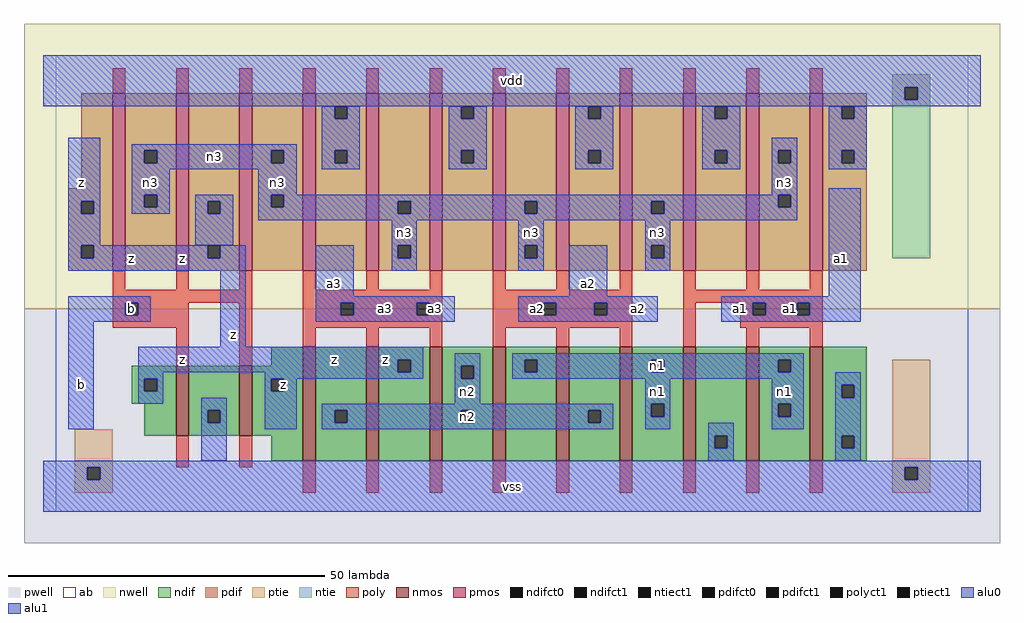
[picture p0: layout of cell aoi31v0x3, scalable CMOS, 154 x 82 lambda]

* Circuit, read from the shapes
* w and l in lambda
.subckt aoi31v0x3 a1 a2 a3 b n1 n2 n3 vdd vss z
M1 vss b z vss nfet w=11 l=2 m=2
M2 n2 a3 z vss nfet w=18 l=2 m=3
M3 n1 a2 n2 vss nfet w=18 l=2 m=3
M4 vss a1 n1 vss nfet w=18 l=2 m=3
M5 n3 b z vdd pfet w=28 l=2 m=3
M6 vdd a3 n3 vdd pfet w=28 l=2 m=3
M7 n3 a2 vdd vdd pfet w=28 l=2 m=3
M8 vdd a1 n3 vdd pfet w=28 l=2 m=3
.ends

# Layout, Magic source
magic
tech scmos
<< ab >>
rect 0 0 144 72
<< nwell >>
rect -5 32 149 77
<< pwell >>
rect -5 -5 149 32
<< poly >>
rect 9 66 11 70
rect 19 66 21 70
rect 29 66 31 70
rect 39 66 41 70
rect 49 66 51 70
rect 59 66 61 70
rect 69 66 71 70
rect 79 66 81 70
rect 89 66 91 70
rect 99 66 101 70
rect 109 66 111 70
rect 119 66 121 70
rect 9 35 11 38
rect 19 35 21 38
rect 29 35 31 38
rect 9 33 31 35
rect 9 31 11 33
rect 13 31 21 33
rect 9 29 21 31
rect 19 23 21 29
rect 29 23 31 33
rect 39 35 41 38
rect 49 35 51 38
rect 59 35 61 38
rect 39 33 61 35
rect 39 31 45 33
rect 47 31 57 33
rect 59 31 61 33
rect 39 29 61 31
rect 39 26 41 29
rect 49 26 51 29
rect 59 26 61 29
rect 69 35 71 38
rect 79 35 81 38
rect 89 35 91 38
rect 69 33 91 35
rect 69 31 77 33
rect 79 31 85 33
rect 87 31 91 33
rect 69 29 91 31
rect 69 26 71 29
rect 79 26 81 29
rect 89 26 91 29
rect 99 35 101 38
rect 109 35 111 38
rect 119 35 121 38
rect 99 33 121 35
rect 99 26 101 33
rect 108 31 110 33
rect 112 31 117 33
rect 119 31 121 33
rect 108 29 121 31
rect 109 26 111 29
rect 119 26 121 29
rect 19 7 21 12
rect 29 7 31 12
rect 39 3 41 8
rect 49 3 51 8
rect 59 3 61 8
rect 69 3 71 8
rect 79 3 81 8
rect 89 3 91 8
rect 99 3 101 8
rect 109 3 111 8
rect 119 3 121 8
<< ndif >>
rect 34 23 39 26
rect 12 21 19 23
rect 12 19 14 21
rect 16 19 19 21
rect 12 17 19 19
rect 14 12 19 17
rect 21 16 29 23
rect 21 14 24 16
rect 26 14 29 16
rect 21 12 29 14
rect 31 21 39 23
rect 31 19 34 21
rect 36 19 39 21
rect 31 12 39 19
rect 34 8 39 12
rect 41 16 49 26
rect 41 14 44 16
rect 46 14 49 16
rect 41 8 49 14
rect 51 24 59 26
rect 51 22 54 24
rect 56 22 59 24
rect 51 8 59 22
rect 61 23 69 26
rect 61 21 64 23
rect 66 21 69 23
rect 61 16 69 21
rect 61 14 64 16
rect 66 14 69 16
rect 61 8 69 14
rect 71 24 79 26
rect 71 22 74 24
rect 76 22 79 24
rect 71 8 79 22
rect 81 16 89 26
rect 81 14 84 16
rect 86 14 89 16
rect 81 8 89 14
rect 91 24 99 26
rect 91 22 94 24
rect 96 22 99 24
rect 91 17 99 22
rect 91 15 94 17
rect 96 15 99 17
rect 91 8 99 15
rect 101 12 109 26
rect 101 10 104 12
rect 106 10 109 12
rect 101 8 109 10
rect 111 24 119 26
rect 111 22 114 24
rect 116 22 119 24
rect 111 17 119 22
rect 111 15 114 17
rect 116 15 119 17
rect 111 8 119 15
rect 121 20 128 26
rect 121 18 124 20
rect 126 18 128 20
rect 121 12 128 18
rect 121 10 124 12
rect 126 10 128 12
rect 121 8 128 10
<< pdif >>
rect 4 51 9 66
rect 2 49 9 51
rect 2 47 4 49
rect 6 47 9 49
rect 2 42 9 47
rect 2 40 4 42
rect 6 40 9 42
rect 2 38 9 40
rect 11 57 19 66
rect 11 55 14 57
rect 16 55 19 57
rect 11 50 19 55
rect 11 48 14 50
rect 16 48 19 50
rect 11 38 19 48
rect 21 49 29 66
rect 21 47 24 49
rect 26 47 29 49
rect 21 42 29 47
rect 21 40 24 42
rect 26 40 29 42
rect 21 38 29 40
rect 31 57 39 66
rect 31 55 34 57
rect 36 55 39 57
rect 31 50 39 55
rect 31 48 34 50
rect 36 48 39 50
rect 31 38 39 48
rect 41 64 49 66
rect 41 62 44 64
rect 46 62 49 64
rect 41 57 49 62
rect 41 55 44 57
rect 46 55 49 57
rect 41 38 49 55
rect 51 49 59 66
rect 51 47 54 49
rect 56 47 59 49
rect 51 42 59 47
rect 51 40 54 42
rect 56 40 59 42
rect 51 38 59 40
rect 61 64 69 66
rect 61 62 64 64
rect 66 62 69 64
rect 61 57 69 62
rect 61 55 64 57
rect 66 55 69 57
rect 61 38 69 55
rect 71 49 79 66
rect 71 47 74 49
rect 76 47 79 49
rect 71 42 79 47
rect 71 40 74 42
rect 76 40 79 42
rect 71 38 79 40
rect 81 64 89 66
rect 81 62 84 64
rect 86 62 89 64
rect 81 57 89 62
rect 81 55 84 57
rect 86 55 89 57
rect 81 38 89 55
rect 91 49 99 66
rect 91 47 94 49
rect 96 47 99 49
rect 91 42 99 47
rect 91 40 94 42
rect 96 40 99 42
rect 91 38 99 40
rect 101 64 109 66
rect 101 62 104 64
rect 106 62 109 64
rect 101 57 109 62
rect 101 55 104 57
rect 106 55 109 57
rect 101 38 109 55
rect 111 57 119 66
rect 111 55 114 57
rect 116 55 119 57
rect 111 50 119 55
rect 111 48 114 50
rect 116 48 119 50
rect 111 38 119 48
rect 121 64 128 66
rect 121 62 124 64
rect 126 62 128 64
rect 121 57 128 62
rect 121 55 124 57
rect 126 55 128 57
rect 121 38 128 55
<< alu1 >>
rect -2 67 146 72
rect -2 65 134 67
rect 136 65 146 67
rect -2 64 146 65
rect 2 49 7 59
rect 2 47 4 49
rect 6 47 7 49
rect 2 42 7 47
rect 2 40 4 42
rect 6 40 24 42
rect 26 40 30 42
rect 2 38 30 40
rect 2 33 15 34
rect 2 31 11 33
rect 13 31 15 33
rect 2 30 15 31
rect 2 13 6 30
rect 26 26 30 38
rect 41 34 47 42
rect 81 34 87 42
rect 122 34 127 51
rect 41 33 63 34
rect 41 31 45 33
rect 47 31 57 33
rect 59 31 63 33
rect 41 30 63 31
rect 73 33 95 34
rect 73 31 77 33
rect 79 31 85 33
rect 87 31 95 33
rect 73 30 95 31
rect 105 33 127 34
rect 105 31 110 33
rect 112 31 117 33
rect 119 31 127 33
rect 105 30 127 31
rect 13 24 58 26
rect 13 22 54 24
rect 56 22 58 24
rect 13 21 17 22
rect 13 19 14 21
rect 16 19 17 21
rect 13 17 17 19
rect 33 21 58 22
rect 33 19 34 21
rect 36 19 38 21
rect 33 13 38 19
rect -2 7 146 8
rect -2 5 5 7
rect 7 5 134 7
rect 136 5 146 7
rect -2 0 146 5
<< ptie >>
rect 3 7 9 13
rect 3 5 5 7
rect 7 5 9 7
rect 3 3 9 5
rect 132 7 138 24
rect 132 5 134 7
rect 136 5 138 7
rect 132 3 138 5
<< ntie >>
rect 132 67 138 69
rect 132 65 134 67
rect 136 65 138 67
rect 132 40 138 65
<< nmos >>
rect 19 12 21 23
rect 29 12 31 23
rect 39 8 41 26
rect 49 8 51 26
rect 59 8 61 26
rect 69 8 71 26
rect 79 8 81 26
rect 89 8 91 26
rect 99 8 101 26
rect 109 8 111 26
rect 119 8 121 26
<< pmos >>
rect 9 38 11 66
rect 19 38 21 66
rect 29 38 31 66
rect 39 38 41 66
rect 49 38 51 66
rect 59 38 61 66
rect 69 38 71 66
rect 79 38 81 66
rect 89 38 91 66
rect 99 38 101 66
rect 109 38 111 66
rect 119 38 121 66
<< polyct1 >>
rect 11 31 13 33
rect 45 31 47 33
rect 57 31 59 33
rect 77 31 79 33
rect 85 31 87 33
rect 110 31 112 33
rect 117 31 119 33
<< ndifct0 >>
rect 24 14 26 16
rect 44 14 46 16
rect 64 21 66 23
rect 64 14 66 16
rect 74 22 76 24
rect 84 14 86 16
rect 94 22 96 24
rect 94 15 96 17
rect 104 10 106 12
rect 114 22 116 24
rect 114 15 116 17
rect 124 18 126 20
rect 124 10 126 12
<< ndifct1 >>
rect 14 19 16 21
rect 34 19 36 21
rect 54 22 56 24
<< ntiect1 >>
rect 134 65 136 67
<< ptiect1 >>
rect 5 5 7 7
rect 134 5 136 7
<< pdifct0 >>
rect 14 55 16 57
rect 14 48 16 50
rect 24 47 26 49
rect 34 55 36 57
rect 34 48 36 50
rect 44 62 46 64
rect 44 55 46 57
rect 54 47 56 49
rect 54 40 56 42
rect 64 62 66 64
rect 64 55 66 57
rect 74 47 76 49
rect 74 40 76 42
rect 84 62 86 64
rect 84 55 86 57
rect 94 47 96 49
rect 94 40 96 42
rect 104 62 106 64
rect 104 55 106 57
rect 114 55 116 57
rect 114 48 116 50
rect 124 62 126 64
rect 124 55 126 57
<< pdifct1 >>
rect 4 47 6 49
rect 4 40 6 42
rect 24 40 26 42
<< alu0 >>
rect 42 62 44 64
rect 46 62 48 64
rect 12 57 38 58
rect 12 55 14 57
rect 16 55 34 57
rect 36 55 38 57
rect 12 54 38 55
rect 42 57 48 62
rect 42 55 44 57
rect 46 55 48 57
rect 42 54 48 55
rect 62 62 64 64
rect 66 62 68 64
rect 62 57 68 62
rect 62 55 64 57
rect 66 55 68 57
rect 62 54 68 55
rect 82 62 84 64
rect 86 62 88 64
rect 82 57 88 62
rect 82 55 84 57
rect 86 55 88 57
rect 82 54 88 55
rect 102 62 104 64
rect 106 62 108 64
rect 102 57 108 62
rect 122 62 124 64
rect 126 62 128 64
rect 102 55 104 57
rect 106 55 108 57
rect 102 54 108 55
rect 113 57 117 59
rect 113 55 114 57
rect 116 55 117 57
rect 12 50 18 54
rect 32 50 38 54
rect 113 50 117 55
rect 122 57 128 62
rect 122 55 124 57
rect 126 55 128 57
rect 122 54 128 55
rect 12 48 14 50
rect 16 48 18 50
rect 12 47 18 48
rect 22 49 28 50
rect 22 47 24 49
rect 26 47 28 49
rect 22 42 28 47
rect 32 48 34 50
rect 36 49 114 50
rect 36 48 54 49
rect 32 47 54 48
rect 56 47 74 49
rect 76 47 94 49
rect 96 48 114 49
rect 116 48 117 50
rect 96 47 117 48
rect 32 46 117 47
rect 53 42 57 46
rect 53 40 54 42
rect 56 40 57 42
rect 53 38 57 40
rect 73 42 77 46
rect 93 42 97 46
rect 73 40 74 42
rect 76 40 77 42
rect 73 38 77 40
rect 93 40 94 42
rect 96 40 97 42
rect 93 38 97 40
rect 63 23 67 25
rect 63 21 64 23
rect 66 21 67 23
rect 72 24 118 25
rect 72 22 74 24
rect 76 22 94 24
rect 96 22 114 24
rect 116 22 118 24
rect 72 21 118 22
rect 23 16 27 18
rect 23 14 24 16
rect 26 14 27 16
rect 23 8 27 14
rect 63 17 67 21
rect 93 17 97 21
rect 42 16 88 17
rect 42 14 44 16
rect 46 14 64 16
rect 66 14 84 16
rect 86 14 88 16
rect 42 13 88 14
rect 93 15 94 17
rect 96 15 97 17
rect 93 13 97 15
rect 113 17 118 21
rect 113 15 114 17
rect 116 15 118 17
rect 103 12 107 14
rect 113 13 118 15
rect 123 20 127 22
rect 123 18 124 20
rect 126 18 127 20
rect 103 10 104 12
rect 106 10 107 12
rect 103 8 107 10
rect 123 12 127 18
rect 123 10 124 12
rect 126 10 127 12
rect 123 8 127 10
<< labels >>
rlabel alu0 15 52 15 52 6 n3
rlabel alu0 65 19 65 19 6 n2
rlabel alu0 55 44 55 44 6 n3
rlabel alu0 25 56 25 56 6 n3
rlabel alu0 35 52 35 52 6 n3
rlabel ndifct0 65 15 65 15 6 n2
rlabel alu0 95 19 95 19 6 n1
rlabel alu0 95 44 95 44 6 n3
rlabel alu0 75 44 75 44 6 n3
rlabel alu0 115 19 115 19 6 n1
rlabel ndifct0 95 23 95 23 6 n1
rlabel alu0 115 52 115 52 6 n3
rlabel alu1 4 20 4 20 6 b
rlabel alu1 28 28 28 28 6 z
rlabel polyct1 12 32 12 32 6 b
rlabel alu1 20 24 20 24 6 z
rlabel alu1 12 40 12 40 6 z
rlabel alu1 20 40 20 40 6 z
rlabel alu1 4 52 4 52 6 z
rlabel alu1 36 20 36 20 6 z
rlabel alu1 60 32 60 32 6 a3
rlabel alu1 52 32 52 32 6 a3
rlabel alu1 52 24 52 24 6 z
rlabel alu1 44 24 44 24 6 z
rlabel alu1 44 36 44 36 6 a3
rlabel alu1 72 4 72 4 6 vss
rlabel alu1 76 32 76 32 6 a2
rlabel alu1 92 32 92 32 6 a2
rlabel alu1 84 36 84 36 6 a2
rlabel alu1 72 68 72 68 6 vdd
rlabel alu1 108 32 108 32 6 a1
rlabel alu1 116 32 116 32 6 a1
rlabel alu1 124 40 124 40 6 a1
<< end >>
